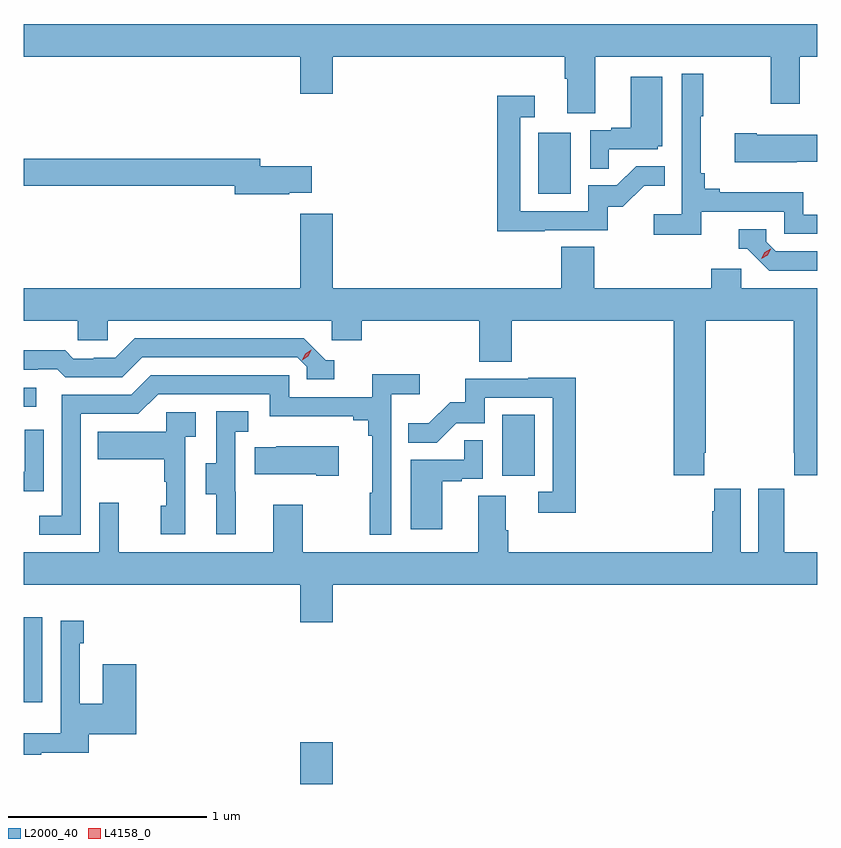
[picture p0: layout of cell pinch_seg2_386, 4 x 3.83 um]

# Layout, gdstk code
import gdstk
lib = gdstk.Library(unit=1e-6, precision=1e-09)
def R(c, l, rs):  # rectangles x0, y0, x1, y1
    for r in rs: c.add(gdstk.rectangle(r[:2], r[2:], *l))
def P(c, l, *ps):  # polygons
    for p in ps: c.add(gdstk.Polygon(p, *l))
L2000_40 = (2000, 40)
L4158_0 = (4158, 0)

pinch_seg2_386 = lib.new_cell('pinch_seg2_386')
R(pinch_seg2_386, L2000_40, [(980.192,621.324,980.356,621.535), (978.799,621.735,978.892,622.165), (981.212,622.878,981.376,623.185), (978.799,623.226,978.862,623.322), (981.392,624.3,981.556,624.607)])
P(pinch_seg2_386, L2000_40, [(981.679,624.992),(982.564,624.992),(982.564,624.753),(982.711,624.753),(982.711,624.992),(982.799,624.992),(982.799,625.156),(978.799,625.156),(978.799,624.992),(980.192,624.992),(980.192,624.804),(980.356,624.804),(980.356,624.992),(981.527,624.992),(981.527,624.88),(981.539,624.88),(981.539,624.706),(981.679,624.706)],
  [(982.214,624.21),(982.632,624.21),(982.632,624.099),(982.799,624.099),(982.799,624.195),(982.728,624.195),(982.728,624.307),(982.309,624.307),(982.309,624.326),(982.232,624.326),(982.232,624.403),(982.213,624.403),(982.213,624.691),(982.225,624.691),(982.225,624.904),(982.116,624.904),(982.116,624.196),(981.975,624.196),(981.975,624.094),(982.214,624.094)],
  [(981.749,624.525),(981.996,624.525),(981.996,624.54),(982.018,624.54),(982.018,624.889),(981.86,624.889),(981.86,624.634),(981.761,624.634),(981.761,624.621),(981.654,624.621),(981.654,624.427),(981.749,624.427)],
  [(981.425,624.117),(981.744,624.117),(981.744,624.234),(981.82,624.234),(981.927,624.341),(982.031,624.341),(982.031,624.44),(981.887,624.44),(981.789,624.342),(981.645,624.342),(981.645,624.213),(981.303,624.213),(981.303,624.687),(981.376,624.687),(981.376,624.793),(981.187,624.793),(981.187,624.112),(981.425,624.112)],
  [(982.697,624.461),(982.799,624.461),(982.799,624.598),(982.495,624.598),(982.495,624.606),(982.383,624.606),(982.383,624.458),(982.697,624.458)],
  [(980.138,624.305),(980.251,624.305),(980.251,624.44),(979.99,624.44),(979.99,624.476),(978.799,624.476),(978.799,624.34),(979.862,624.34),(979.862,624.298),(980.138,624.298)],
  [(982.229,622.993),(982.236,622.993),(982.236,623.66),(982.681,623.66),(982.681,622.993),(982.683,622.993),(982.683,622.881),(982.799,622.881),(982.799,623.824),(982.416,623.824),(982.416,623.922),(982.265,623.922),(982.265,623.824),(981.674,623.824),(981.674,624.032),(981.509,624.032),(981.509,623.824),(980.356,623.824),(980.356,624.199),(980.192,624.199),(980.192,623.824),(978.799,623.824),(978.799,623.66),(979.071,623.66),(979.071,623.562),(979.221,623.562),(979.221,623.66),(980.352,623.66),(980.352,623.562),(980.504,623.562),(980.504,623.66),(981.095,623.66),(981.095,623.452),(981.26,623.452),(981.26,623.66),(982.076,623.66),(982.076,622.881),(982.229,622.881)],
  [(982.799,624.009),(982.59,624.009),(982.542,624.057),(982.542,624.12),(982.403,624.12),(982.403,624.024),(982.446,624.024),(982.557,623.913),(982.799,623.913)],
  [(980.365,623.46),(980.322,623.46),(980.211,623.571),(979.358,623.571),(979.259,623.472),(979.152,623.472),(979.152,623.469),(979.049,623.469),(979.007,623.512),(978.799,623.512),(978.799,623.412),(978.869,623.412),(978.869,623.415),(978.968,623.415),(979.007,623.376),(979.296,623.376),(979.395,623.475),(980.178,623.475),(980.226,623.427),(980.226,623.364),(980.365,623.364)],
  [(979.086,623.19),(979.377,623.19),(979.476,623.289),(980.04,623.289),(980.04,623.177),(980.459,623.177),(980.459,623.158),(980.536,623.158),(980.536,623.081),(980.555,623.081),(980.555,622.793),(980.544,622.793),(980.544,622.581),(980.652,622.581),(980.652,623.288),(980.794,623.288),(980.794,623.39),(980.555,623.39),(980.555,623.274),(980.136,623.274),(980.136,623.385),(979.439,623.385),(979.34,623.286),(978.99,623.286),(978.99,622.677),(978.877,622.677),(978.877,622.581),(979.086,622.581)],
  [(981.581,623.372),(981.343,623.372),(981.343,623.367),(981.025,623.367),(981.025,623.25),(980.948,623.25),(980.841,623.143),(980.737,623.143),(980.737,623.044),(980.881,623.044),(980.979,623.142),(981.123,623.142),(981.123,623.271),(981.465,623.271),(981.465,622.797),(981.393,622.797),(981.393,622.692),(981.581,622.692)],
  [(979.868,622.797),(979.866,622.797),(979.866,623.101),(979.93,623.101),(979.93,623.204),(979.77,623.204),(979.77,622.941),(979.715,622.941),(979.715,622.786),(979.769,622.786),(979.769,622.584),(979.868,622.584)],
  [(979.614,623.075),(979.666,623.075),(979.666,623.199),(979.518,623.199),(979.518,623.101),(979.171,623.101),(979.171,622.961),(979.506,622.961),(979.506,622.847),(979.516,622.847),(979.516,622.728),(979.49,622.728),(979.49,622.584),(979.614,622.584)],
  [(978.9,623.11),(978.804,623.11),(978.804,622.898),(978.799,622.898),(978.799,622.8),(978.9,622.8)],
  [(980.908,622.851),(981.008,622.851),(981.008,622.863),(981.114,622.863),(981.114,623.057),(981.019,623.057),(981.019,622.959),(980.75,622.959),(980.75,622.608),(980.908,622.608)],
  [(980.386,623.026),(980.071,623.026),(980.071,623.023),(979.963,623.023),(979.963,622.886),(980.273,622.886),(980.273,622.879),(980.386,622.879)],
  [(980.356,622.328),(982.799,622.328),(982.799,622.492),(982.633,622.492),(982.633,622.7),(982.632,622.7),(982.632,622.813),(982.502,622.813),(982.502,622.492),(982.414,622.492),(982.414,622.813),(982.28,622.813),(982.28,622.7),(982.271,622.7),(982.271,622.492),(981.242,622.492),(981.242,622.604),(981.229,622.604),(981.229,622.778),(981.089,622.778),(981.089,622.492),(980.205,622.492),(980.205,622.732),(980.057,622.732),(980.057,622.492),(979.277,622.492),(979.277,622.741),(979.179,622.741),(979.179,622.492),(978.799,622.492),(978.799,622.328),(980.192,622.328),(980.192,622.14),(980.356,622.14)],
  [(978.887,621.481),(979.127,621.481),(979.127,621.575),(979.367,621.575),(979.367,621.928),(979.196,621.928),(979.196,621.728),(979.08,621.728),(979.08,622.034),(979.1,622.034),(979.1,622.147),(978.984,622.147),(978.984,621.58),(978.799,621.58),(978.799,621.471),(978.887,621.471)])
P(pinch_seg2_386, L4158_0, [(980.202,623.461),(980.202,623.461),(980.218,623.494),(980.248,623.514),(980.249,623.514),(980.249,623.513),(980.233,623.481),(980.203,623.461)],
  [(982.518,623.972),(982.518,623.972),(982.534,624.005),(982.565,624.024),(982.565,624.024),(982.565,624.023),(982.549,623.991),(982.518,623.972)])

lib.write_gds('pinch_seg2_386.gds')
